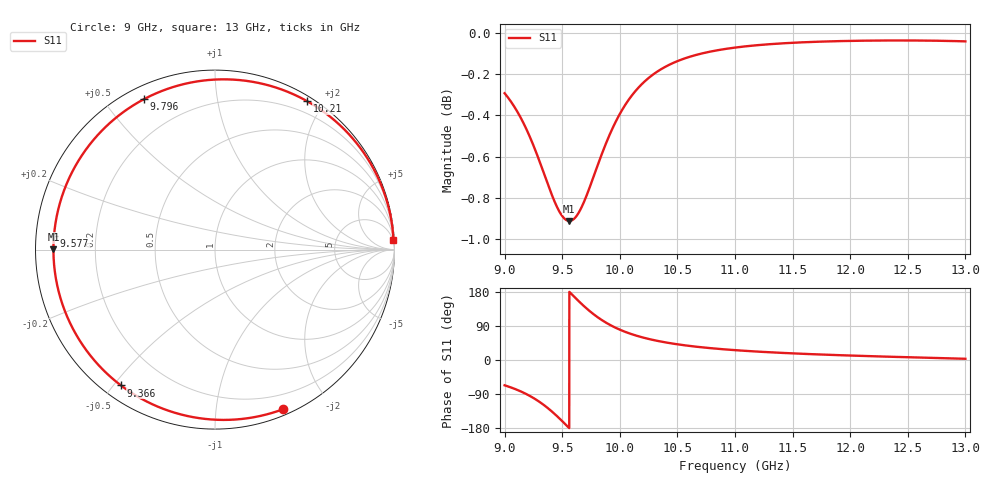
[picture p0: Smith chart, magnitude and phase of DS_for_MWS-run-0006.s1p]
! TOUCHSTONE file generated by CST DESIGN STUDIO
! Date and time: Tue Feb  4 18:46:43 2025
! Project name: C:\Work\MatlabApps\UnitCellOptimizationMatlab\CST\unitcell.cst
! Tree item: Tasks\Sweep1\SPara1\S-Parameters
! Header version: 2024
! Port assignment regex: !\s*Touchstone port\s*([0-9]+)\s*=\s*(CST MWS port|CST DES external port|CST DES block port)\s*(.+)\s* \(\"(.*)\"\)(\s*mode\s*([0-9]+))?.*
! Touchstone port assignment:
! Touchstone port 1 = CST DES external port 1 ("")
# GHz S MA R 50
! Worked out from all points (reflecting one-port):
!   4001 points, 9 GHz to 13 GHz, reference 50 ohm
!   lowest |S11| = -0.9 dB at 9.562 GHz (marker M1), VSWR 19.04, Z = 2.63 + j0.0748 ohm
!   phase of S11 starts at -67 deg and turns -290 deg over the sweep
!   S11 on the Smith chart (normalised r, x): 9 GHz: 0.06, -1.52; 9.366 GHz: 0.05, -0.52; 9.577 GHz: 0.05, +0.04; 9.796 GHz: 0.05, +0.63; 10.21 GHz: 0.06, +1.79; 13 GHz: 3, +35
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9  0.9669 -66.8
9.04  0.9637 -70.8
9.106  0.9575 -78.4
9.218  0.9438 -94.6
9.296  0.9319 -109.1
9.366  0.9204 -124.7
9.431  0.9104 -141.5
9.5  0.9027 -161.3
9.531  0.9009 -170.7
9.562  0.9002 179.8
9.577  0.9004 175.2
9.632  0.9034 158.5
9.693  0.9104 141.1
9.744  0.9182 127.7
9.796  0.9268 115.4
9.84  0.934 106.2
9.888  0.9413 97.2
10  0.9558 80.1
10.102  0.9655 68.3
10.214  0.9732 58.3
10.346  0.9795 49.3
10.5  0.9845 41.4
10.721  0.9888 33.2
11  0.9919 26.0
11.5  0.9946 17.5
12  0.9957 11.8
12.5  0.9959 7.3
13  0.9954 3.2
